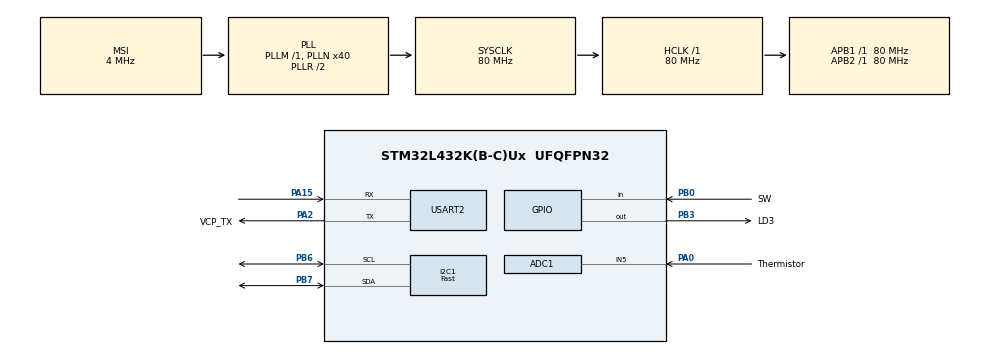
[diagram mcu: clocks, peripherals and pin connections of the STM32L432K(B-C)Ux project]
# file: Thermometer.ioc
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ADC1.Channel-0\#ChannelRegularConversion=ADC_CHANNEL_5
ADC1.NbrOfConversionFlag=1
ADC1.OffsetNumber-0\#ChannelRegularConversion=ADC_OFFSET_NONE
ADC1.Rank-0\#ChannelRegularConversion=1
ADC1.SamplingTime-0\#ChannelRegularConversion=ADC_SAMPLETIME_640CYCLES_5
ADC1.master=1
I2C1.CustomTiming=Disabled
I2C1.I2C_Speed_Mode=I2C_Fast
I2C1.Timing=0x00702991
Mcu.Family=STM32L4
Mcu.Name=STM32L432K(B-C)Ux
Mcu.Package=UFQFPN32
NVIC.PriorityGroup=NVIC_PRIORITYGROUP_4
PA0.GPIO_Label=Thermistor
PA0.Signal=ADCx_IN5
PA13\ (JTMS-SWDIO).GPIO_Label=SWDIO
PA13\ (JTMS-SWDIO).Mode=Serial_Wire
PA13\ (JTMS-SWDIO).Signal=SYS_JTMS-SWDIO
PA14\ (JTCK-SWCLK).GPIO_Label=SWCLK
PA14\ (JTCK-SWCLK).Mode=Serial_Wire
PA14\ (JTCK-SWCLK).Signal=SYS_JTCK-SWCLK
PA15\ (JTDI).Mode=Asynchronous
PA15\ (JTDI).Signal=USART2_RX
PA2.GPIO_Label=VCP_TX
PA2.Mode=Asynchronous
PA2.Signal=USART2_TX
PB0.GPIO_Label=SW
PB0.GPIO_PuPd=GPIO_PULLUP
PB0.Signal=GPIO_Input
PB3\ (JTDO-TRACESWO).GPIO_Label=LD3
PB3\ (JTDO-TRACESWO).Signal=GPIO_Output
PB6.Mode=I2C
PB6.Signal=I2C1_SCL
PB7.Mode=I2C
PB7.Signal=I2C1_SDA
PC14-OSC32_IN\ (PC14).Mode=LSE-External-Oscillator
PC14-OSC32_IN\ (PC14).Signal=RCC_OSC32_IN
PC15-OSC32_OUT\ (PC15).Mode=LSE-External-Oscillator
PC15-OSC32_OUT\ (PC15).Signal=RCC_OSC32_OUT
ProjectManager.HeapSize=0x200
ProjectManager.StackSize=0x400
ProjectManager.TargetToolchain=STM32CubeIDE
RCC.AHBFreq_Value=80000000
RCC.APB1Freq_Value=80000000
RCC.APB1TimFreq_Value=80000000
RCC.APB2Freq_Value=80000000
RCC.APB2TimFreq_Value=80000000
RCC.CortexFreq_Value=80000000
RCC.HCLKFreq_Value=80000000
RCC.HSE_VALUE=8000000
RCC.HSI16_VALUE=16000000
RCC.HSI48_VALUE=48000000
RCC.HSI_VALUE=16000000
RCC.MSI_VALUE=4000000
RCC.PLLMUL=RCC_PLLMUL_4
RCC.PLLN=40
RCC.SYSCLKFreq_VALUE=80000000
RCC.SYSCLKSource=RCC_SYSCLKSOURCE_PLLCLK
RCC.VCOOutputFreq_Value=160000000
SH.ADCx_IN5.0=ADC1_IN5,IN5-Single-Ended
USART2.VirtualMode-Asynchronous=VM_ASYNC
board=NUCLEO-L432KC

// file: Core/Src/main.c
/* USER CODE BEGIN Header */
/**
  ******************************************************************************
  * @file           : main.c
  * @brief          : Main program body
  ******************************************************************************
  * @attention
  *
  * Copyright (c) 2023 STMicroelectronics.
  * All rights reserved.
  *
  * This software is licensed under terms that can be found in the LICENSE file
  * in the root directory of this software component.
  * If no LICENSE file comes with this software, it is provided AS-IS.
  *
  ******************************************************************************
  */
/* USER CODE END Header */
#include "main.h"

/* USER CODE BEGIN Includes */

#include <stdio.h>
#include "ssd1306.h"
#include <math.h>

/* USER CODE END Includes */

ADC_HandleTypeDef hadc1;

I2C_HandleTypeDef hi2c1;

UART_HandleTypeDef huart2;

void SystemClock_Config(void);
static void MX_GPIO_Init(void);
static void MX_ADC1_Init(void);
static void MX_I2C1_Init(void);
static void MX_USART2_UART_Init(void);

/* USER CODE BEGIN 0 */
double ln(double x) {
	return log(x);
}

int __io_putchar(int ch) {
 HAL_UART_Transmit(&huart2, (uint8_t*)&ch, 1, 0xffff);
 return ch;
}

float ComputeTemperature(uint32_t adc)
{
	  float B = 4050;
	  float R0 =10000;
	  float R1 = 10000;
	  float T0 = 298.15;
	  float Vpa0 =  ((float)adc*3.3)/4096;
	  float R2 = (3.3*R1/Vpa0)-R1;
	  float Rinf = R0*exp(-B/T0);
	  return (B/ln(R2/Rinf))-273.15;
}
/* USER CODE END 0 */

int main(void)
{

  /* MCU Configuration--------------------------------------------------------*/

  /* Reset of all peripherals, Initializes the Flash interface and the Systick. */
  HAL_Init();

  /* Configure the system clock */
  SystemClock_Config();

  /* Initialize all configured peripherals */
  MX_GPIO_Init();
  MX_ADC1_Init();
  MX_I2C1_Init();
  MX_USART2_UART_Init();

  /* Infinite loop */
  /* USER CODE BEGIN WHILE */
  ssd1306_Init();
  ssd1306_SetCursor(0, 0);
  ssd1306_WriteString("Temperature", Font_11x18, White);
  ssd1306_UpdateScreen();
  while (1)
  {
    /* USER CODE END WHILE */

    /* USER CODE BEGIN 3 */
	  char buf[20];
	  HAL_ADC_Start(&hadc1);
	  HAL_ADC_PollForConversion(&hadc1, 0xffff);
	  uint32_t adc = HAL_ADC_GetValue(&hadc1);
	  float temp = ComputeTemperature(adc);
	  sprintf(buf,"%d.%02d", (int)(temp*100)/100,(int)(temp*100)%100);
	  printf("ADC = %lu; Temperature = %s\n", adc, buf);
	  ssd1306_SetCursor(40, 40);
	  ssd1306_WriteString(buf, Font_11x18, White);
	  ssd1306_UpdateScreen();
	  HAL_Delay(500);
  }
  /* USER CODE END 3 */
}

void SystemClock_Config(void)
{
  RCC_OscInitTypeDef RCC_OscInitStruct = {0};
  RCC_ClkInitTypeDef RCC_ClkInitStruct = {0};

  /** Configure the main internal regulator output voltage
  */
  if (HAL_PWREx_ControlVoltageScaling(PWR_REGULATOR_VOLTAGE_SCALE1) != HAL_OK)
  {
    Error_Handler();
  }

  /** Configure LSE Drive Capability
  */
  HAL_PWR_EnableBkUpAccess();
  __HAL_RCC_LSEDRIVE_CONFIG(RCC_LSEDRIVE_LOW);

  /** Initializes the RCC Oscillators according to the specified parameters
  * in the RCC_OscInitTypeDef structure.
  */
  RCC_OscInitStruct.OscillatorType = RCC_OSCILLATORTYPE_LSE|RCC_OSCILLATORTYPE_MSI;
  RCC_OscInitStruct.LSEState = RCC_LSE_ON;
  RCC_OscInitStruct.MSIState = RCC_MSI_ON;
  RCC_OscInitStruct.MSICalibrationValue = 0;
  RCC_OscInitStruct.MSIClockRange = RCC_MSIRANGE_6;
  RCC_OscInitStruct.PLL.PLLState = RCC_PLL_ON;
  RCC_OscInitStruct.PLL.PLLSource = RCC_PLLSOURCE_MSI;
  RCC_OscInitStruct.PLL.PLLM = 1;
  RCC_OscInitStruct.PLL.PLLN = 40;
  RCC_OscInitStruct.PLL.PLLP = RCC_PLLP_DIV7;
  RCC_OscInitStruct.PLL.PLLQ = RCC_PLLQ_DIV2;
  RCC_OscInitStruct.PLL.PLLR = RCC_PLLR_DIV2;
  if (HAL_RCC_OscConfig(&RCC_OscInitStruct) != HAL_OK)
  {
    Error_Handler();
  }

  /** Initializes the CPU, AHB and APB buses clocks
  */
  RCC_ClkInitStruct.ClockType = RCC_CLOCKTYPE_HCLK|RCC_CLOCKTYPE_SYSCLK
                              |RCC_CLOCKTYPE_PCLK1|RCC_CLOCKTYPE_PCLK2;
  RCC_ClkInitStruct.SYSCLKSource = RCC_SYSCLKSOURCE_PLLCLK;
  RCC_ClkInitStruct.AHBCLKDivider = RCC_SYSCLK_DIV1;
  RCC_ClkInitStruct.APB1CLKDivider = RCC_HCLK_DIV1;
  RCC_ClkInitStruct.APB2CLKDivider = RCC_HCLK_DIV1;

  if (HAL_RCC_ClockConfig(&RCC_ClkInitStruct, FLASH_LATENCY_4) != HAL_OK)
  {
    Error_Handler();
  }

  /** Enable MSI Auto calibration
  */
  HAL_RCCEx_EnableMSIPLLMode();
}

static void MX_ADC1_Init(void)
{

  ADC_ChannelConfTypeDef sConfig = {0};

  /** Common config
  */
  hadc1.Instance = ADC1;
  hadc1.Init.ClockPrescaler = ADC_CLOCK_ASYNC_DIV1;
  hadc1.Init.Resolution = ADC_RESOLUTION_12B;
  hadc1.Init.DataAlign = ADC_DATAALIGN_RIGHT;
  hadc1.Init.ScanConvMode = ADC_SCAN_DISABLE;
  hadc1.Init.EOCSelection = ADC_EOC_SINGLE_CONV;
  hadc1.Init.LowPowerAutoWait = DISABLE;
  hadc1.Init.ContinuousConvMode = DISABLE;
  hadc1.Init.NbrOfConversion = 1;
  hadc1.Init.DiscontinuousConvMode = DISABLE;
  hadc1.Init.ExternalTrigConv = ADC_SOFTWARE_START;
  hadc1.Init.ExternalTrigConvEdge = ADC_EXTERNALTRIGCONVEDGE_NONE;
  hadc1.Init.DMAContinuousRequests = DISABLE;
  hadc1.Init.Overrun = ADC_OVR_DATA_PRESERVED;
  hadc1.Init.OversamplingMode = DISABLE;
  if (HAL_ADC_Init(&hadc1) != HAL_OK)
  {
    Error_Handler();
  }

  /** Configure Regular Channel
  */
  sConfig.Channel = ADC_CHANNEL_5;
  sConfig.Rank = ADC_REGULAR_RANK_1;
  sConfig.SamplingTime = ADC_SAMPLETIME_640CYCLES_5;
  sConfig.SingleDiff = ADC_SINGLE_ENDED;
  sConfig.OffsetNumber = ADC_OFFSET_NONE;
  sConfig.Offset = 0;
  if (HAL_ADC_ConfigChannel(&hadc1, &sConfig) != HAL_OK)
  {
    Error_Handler();
  }

}

static void MX_I2C1_Init(void)
{

  hi2c1.Instance = I2C1;
  hi2c1.Init.Timing = 0x00702991;
  hi2c1.Init.OwnAddress1 = 0;
  hi2c1.Init.AddressingMode = I2C_ADDRESSINGMODE_7BIT;
  hi2c1.Init.DualAddressMode = I2C_DUALADDRESS_DISABLE;
  hi2c1.Init.OwnAddress2 = 0;
  hi2c1.Init.OwnAddress2Masks = I2C_OA2_NOMASK;
  hi2c1.Init.GeneralCallMode = I2C_GENERALCALL_DISABLE;
  hi2c1.Init.NoStretchMode = I2C_NOSTRETCH_DISABLE;
  if (HAL_I2C_Init(&hi2c1) != HAL_OK)
  {
    Error_Handler();
  }

  /** Configure Analogue filter
  */
  if (HAL_I2CEx_ConfigAnalogFilter(&hi2c1, I2C_ANALOGFILTER_ENABLE) != HAL_OK)
  {
    Error_Handler();
  }

  /** Configure Digital filter
  */
  if (HAL_I2CEx_ConfigDigitalFilter(&hi2c1, 0) != HAL_OK)
  {
    Error_Handler();
  }

}

static void MX_USART2_UART_Init(void)
{

  huart2.Instance = USART2;
  huart2.Init.BaudRate = 115200;
  huart2.Init.WordLength = UART_WORDLENGTH_8B;
  huart2.Init.StopBits = UART_STOPBITS_1;
  huart2.Init.Parity = UART_PARITY_NONE;
  huart2.Init.Mode = UART_MODE_TX_RX;
  huart2.Init.HwFlowCtl = UART_HWCONTROL_NONE;
  huart2.Init.OverSampling = UART_OVERSAMPLING_16;
  huart2.Init.OneBitSampling = UART_ONE_BIT_SAMPLE_DISABLE;
  huart2.AdvancedInit.AdvFeatureInit = UART_ADVFEATURE_NO_INIT;
  if (HAL_UART_Init(&huart2) != HAL_OK)
  {
    Error_Handler();
  }

}

static void MX_GPIO_Init(void)
{
  GPIO_InitTypeDef GPIO_InitStruct = {0};

  /* GPIO Ports Clock Enable */
  __HAL_RCC_GPIOC_CLK_ENABLE();
  __HAL_RCC_GPIOA_CLK_ENABLE();
  __HAL_RCC_GPIOB_CLK_ENABLE();

  /*Configure GPIO pin Output Level */
  HAL_GPIO_WritePin(LD3_GPIO_Port, LD3_Pin, GPIO_PIN_RESET);

  /*Configure GPIO pin : SW_Pin */
  GPIO_InitStruct.Pin = SW_Pin;
  GPIO_InitStruct.Mode = GPIO_MODE_INPUT;
  GPIO_InitStruct.Pull = GPIO_PULLUP;
  HAL_GPIO_Init(SW_GPIO_Port, &GPIO_InitStruct);

  /*Configure GPIO pin : LD3_Pin */
  GPIO_InitStruct.Pin = LD3_Pin;
  GPIO_InitStruct.Mode = GPIO_MODE_OUTPUT_PP;
  GPIO_InitStruct.Pull = GPIO_NOPULL;
  GPIO_InitStruct.Speed = GPIO_SPEED_FREQ_LOW;
  HAL_GPIO_Init(LD3_GPIO_Port, &GPIO_InitStruct);

}

void Error_Handler(void)
{
  __disable_irq();
  while (1)
  {
  }
}
